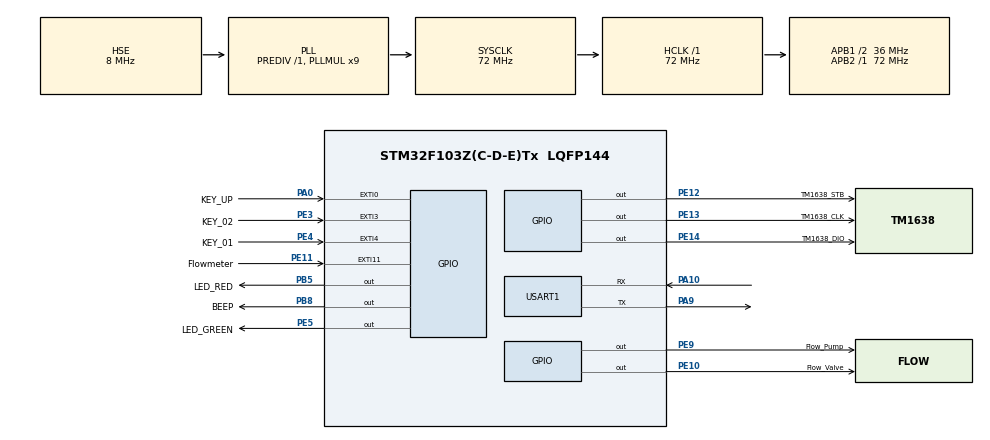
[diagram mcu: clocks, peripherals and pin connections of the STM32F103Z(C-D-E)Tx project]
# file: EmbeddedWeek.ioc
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FREERTOS.Tasks01=defaultTask,0,128,StartDefaultTask,Default,NULL,Dynamic,NULL,NULL;Blink,2,128,Start_Blink,Default,NULL,Dynamic,NULL,NULL;TM1638,0,128,Start_TM1638,Default,NULL,Dynamic,NULL,NULL
FREERTOS.configTOTAL_HEAP_SIZE=4096
Mcu.Family=STM32F1
Mcu.Name=STM32F103Z(C-D-E)Tx
Mcu.Package=LQFP144
NVIC.EXTI0_IRQn=true\:5\:0\:true\:true\:true\:1\:false\:true\:true\:true
NVIC.EXTI15_10_IRQn=true\:5\:0\:true\:true\:true\:4\:false\:true\:true\:true
NVIC.EXTI3_IRQn=true\:5\:0\:true\:true\:true\:2\:false\:true\:true\:true
NVIC.EXTI4_IRQn=true\:5\:0\:true\:true\:true\:3\:false\:true\:true\:true
NVIC.PriorityGroup=NVIC_PRIORITYGROUP_4
NVIC.TIM8_UP_IRQn=true\:15\:0\:false\:false\:true\:false\:false\:true\:true
NVIC.TimeBase=TIM8_UP_IRQn
NVIC.TimeBaseIP=TIM8
OSC_IN.Mode=HSE-External-Oscillator
OSC_IN.Signal=RCC_OSC_IN
OSC_OUT.Mode=HSE-External-Oscillator
OSC_OUT.Signal=RCC_OSC_OUT
PA0-WKUP.GPIO_Label=KEY_UP
PA0-WKUP.GPIO_ModeDefaultEXTI=GPIO_MODE_IT_RISING
PA0-WKUP.GPIO_PuPd=GPIO_PULLDOWN
PA0-WKUP.Signal=GPXTI0
PA10.Mode=Asynchronous
PA10.Signal=USART1_RX
PA13.Mode=Serial_Wire
PA13.Signal=SYS_JTMS-SWDIO
PA14.Mode=Serial_Wire
PA14.Signal=SYS_JTCK-SWCLK
PA9.Mode=Asynchronous
PA9.Signal=USART1_TX
PB5.GPIO_Label=LED_RED
PB5.GPIO_PuPd=GPIO_NOPULL
PB5.PinState=GPIO_PIN_SET
PB5.Signal=GPIO_Output
PB8.GPIO_Label=BEEP
PB8.GPIO_PuPd=GPIO_PULLDOWN
PB8.PinState=GPIO_PIN_RESET
PB8.Signal=GPIO_Output
PE10.GPIO_Label=Flow_Valve
PE10.GPIO_PuPd=GPIO_NOPULL
PE10.GPIO_Speed=GPIO_SPEED_FREQ_LOW
PE10.PinState=GPIO_PIN_RESET
PE10.Signal=GPIO_Output
PE11.GPIO_Label=Flowmeter
PE11.GPIO_ModeDefaultEXTI=GPIO_MODE_IT_RISING
PE11.GPIO_PuPd=GPIO_PULLUP
PE11.Signal=GPXTI11
PE12.GPIO_Label=TM1638_STB
PE12.GPIO_PuPd=GPIO_PULLUP
PE12.PinState=GPIO_PIN_SET
PE12.Signal=GPIO_Output
PE13.GPIO_Label=TM1638_CLK
PE13.GPIO_PuPd=GPIO_PULLUP
PE13.PinState=GPIO_PIN_SET
PE13.Signal=GPIO_Output
PE14.GPIO_Label=TM1638_DIO
PE14.GPIO_PuPd=GPIO_PULLUP
PE14.PinState=GPIO_PIN_SET
PE14.Signal=GPIO_Output
PE3.GPIO_Label=KEY_02
PE3.GPIO_ModeDefaultEXTI=GPIO_MODE_IT_FALLING
PE3.GPIO_PuPd=GPIO_PULLUP
PE3.Signal=GPXTI3
PE4.GPIO_Label=KEY_01
PE4.GPIO_ModeDefaultEXTI=GPIO_MODE_IT_FALLING
PE4.GPIO_PuPd=GPIO_PULLUP
PE4.Signal=GPXTI4
PE5.GPIO_Label=LED_GREEN
PE5.PinState=GPIO_PIN_SET
PE5.Signal=GPIO_Output
PE9.GPIO_Label=Flow_Pump
PE9.GPIO_ModeDefaultOutputPP=GPIO_MODE_OUTPUT_PP
PE9.GPIO_PuPd=GPIO_NOPULL
PE9.GPIO_Speed=GPIO_SPEED_FREQ_LOW
PE9.PinState=GPIO_PIN_RESET
PE9.Signal=GPIO_Output
ProjectManager.HeapSize=0x200
ProjectManager.StackSize=0x400
ProjectManager.TargetToolchain=MDK-ARM V5.32
RCC.AHBFreq_Value=72000000
RCC.APB1CLKDivider=RCC_HCLK_DIV2
RCC.APB1Freq_Value=36000000
RCC.APB1TimFreq_Value=72000000
RCC.APB2Freq_Value=72000000
RCC.APB2TimFreq_Value=72000000
RCC.HCLKFreq_Value=72000000
RCC.PLLMUL=RCC_PLL_MUL9
RCC.PLLSourceVirtual=RCC_PLLSOURCE_HSE
RCC.SYSCLKFreq_VALUE=72000000
RCC.SYSCLKSource=RCC_SYSCLKSOURCE_PLLCLK
RCC.USBFreq_Value=72000000
TIM7.Prescaler=71
USART1.VirtualMode=VM_ASYNC
VP_FREERTOS_VS_CMSIS_V1.Mode=CMSIS_V1
VP_SYS_VS_tim8.Mode=TIM8
VP_TIM7_VS_ClockSourceINT.Mode=Enable_Timer
board=custom

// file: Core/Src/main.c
/* USER CODE BEGIN Header */
/**
  ******************************************************************************
  * @file           : main.c
  * @brief          : Main program body
  ******************************************************************************
  * @attention
  *
  * Copyright (c) 2022 STMicroelectronics.
  * All rights reserved.
  *
  * This software is licensed under terms that can be found in the LICENSE file
  * in the root directory of this software component.
  * If no LICENSE file comes with this software, it is provided AS-IS.
  *
  ******************************************************************************
  */
/* USER CODE END Header */
#include "main.h"
#include "cmsis_os.h"
#include "tim.h"
#include "usart.h"
#include "gpio.h"

void SystemClock_Config(void);
void MX_FREERTOS_Init(void);
static void MX_NVIC_Init(void);

int main(void)
{

  /* MCU Configuration--------------------------------------------------------*/

  /* Reset of all peripherals, Initializes the Flash interface and the Systick. */
  HAL_Init();

  /* Configure the system clock */
  SystemClock_Config();

  /* Initialize all configured peripherals */
  MX_GPIO_Init();
  MX_USART1_UART_Init();
  MX_TIM7_Init();

  /* Initialize interrupts */
  MX_NVIC_Init();

  /* Call init function for freertos objects (in freertos.c) */
  MX_FREERTOS_Init();

  /* Start scheduler */
  osKernelStart();

  /* We should never get here as control is now taken by the scheduler */
  /* Infinite loop */
  while (1)
  {

  }
}

void SystemClock_Config(void)
{
  RCC_OscInitTypeDef RCC_OscInitStruct = {0};
  RCC_ClkInitTypeDef RCC_ClkInitStruct = {0};

  /** Initializes the RCC Oscillators according to the specified parameters
  * in the RCC_OscInitTypeDef structure.
  */
  RCC_OscInitStruct.OscillatorType = RCC_OSCILLATORTYPE_HSE;
  RCC_OscInitStruct.HSEState = RCC_HSE_ON;
  RCC_OscInitStruct.HSEPredivValue = RCC_HSE_PREDIV_DIV1;
  RCC_OscInitStruct.HSIState = RCC_HSI_ON;
  RCC_OscInitStruct.PLL.PLLState = RCC_PLL_ON;
  RCC_OscInitStruct.PLL.PLLSource = RCC_PLLSOURCE_HSE;
  RCC_OscInitStruct.PLL.PLLMUL = RCC_PLL_MUL9;
  if (HAL_RCC_OscConfig(&RCC_OscInitStruct) != HAL_OK)
  {
    Error_Handler();
  }

  /** Initializes the CPU, AHB and APB buses clocks
  */
  RCC_ClkInitStruct.ClockType = RCC_CLOCKTYPE_HCLK|RCC_CLOCKTYPE_SYSCLK
                              |RCC_CLOCKTYPE_PCLK1|RCC_CLOCKTYPE_PCLK2;
  RCC_ClkInitStruct.SYSCLKSource = RCC_SYSCLKSOURCE_PLLCLK;
  RCC_ClkInitStruct.AHBCLKDivider = RCC_SYSCLK_DIV1;
  RCC_ClkInitStruct.APB1CLKDivider = RCC_HCLK_DIV2;
  RCC_ClkInitStruct.APB2CLKDivider = RCC_HCLK_DIV1;

  if (HAL_RCC_ClockConfig(&RCC_ClkInitStruct, FLASH_LATENCY_2) != HAL_OK)
  {
    Error_Handler();
  }
}

/**
  * @brief NVIC Configuration.
  * @retval None
  */
static void MX_NVIC_Init(void)
{
  /* EXTI0_IRQn interrupt configuration */
  HAL_NVIC_SetPriority(EXTI0_IRQn, 5, 0);
  HAL_NVIC_EnableIRQ(EXTI0_IRQn);
  /* EXTI3_IRQn interrupt configuration */
  HAL_NVIC_SetPriority(EXTI3_IRQn, 5, 0);
  HAL_NVIC_EnableIRQ(EXTI3_IRQn);
  /* EXTI4_IRQn interrupt configuration */
  HAL_NVIC_SetPriority(EXTI4_IRQn, 5, 0);
  HAL_NVIC_EnableIRQ(EXTI4_IRQn);
  /* EXTI15_10_IRQn interrupt configuration */
  HAL_NVIC_SetPriority(EXTI15_10_IRQn, 5, 0);
  HAL_NVIC_EnableIRQ(EXTI15_10_IRQn);
}

void HAL_TIM_PeriodElapsedCallback(TIM_HandleTypeDef *htim)
{
  if (htim->Instance == TIM8) {
    HAL_IncTick();
  }
}

void Error_Handler(void)
{
  __disable_irq();
  while (1)
  {
  }
}

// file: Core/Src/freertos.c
/* USER CODE BEGIN Header */
/**
  ******************************************************************************
  * File Name          : freertos.c
  * Description        : Code for freertos applications
  ******************************************************************************
  * @attention
  *
  * Copyright (c) 2022 STMicroelectronics.
  * All rights reserved.
  *
  * This software is licensed under terms that can be found in the LICENSE file
  * in the root directory of this software component.
  * If no LICENSE file comes with this software, it is provided AS-IS.
  *
  ******************************************************************************
  */
/* USER CODE END Header */

#include "FreeRTOS.h"
#include "task.h"
#include "main.h"
#include "cmsis_os.h"

osThreadId defaultTaskHandle;
osThreadId BlinkHandle;
osThreadId TM1638Handle;

void StartDefaultTask(void const * argument);
void Start_Blink(void const * argument);
void Start_TM1638(void const * argument);

void MX_FREERTOS_Init(void); /* (MISRA C 2004 rule 8.1) */

/* GetIdleTaskMemory prototype (linked to static allocation support) */
void vApplicationGetIdleTaskMemory( StaticTask_t **ppxIdleTaskTCBBuffer, StackType_t **ppxIdleTaskStackBuffer, uint32_t *pulIdleTaskStackSize );

/* USER CODE BEGIN GET_IDLE_TASK_MEMORY */
static StaticTask_t xIdleTaskTCBBuffer;
static StackType_t xIdleStack[configMINIMAL_STACK_SIZE];

void vApplicationGetIdleTaskMemory( StaticTask_t **ppxIdleTaskTCBBuffer, StackType_t **ppxIdleTaskStackBuffer, uint32_t *pulIdleTaskStackSize )
{
  *ppxIdleTaskTCBBuffer = &xIdleTaskTCBBuffer;
  *ppxIdleTaskStackBuffer = &xIdleStack[0];
  *pulIdleTaskStackSize = configMINIMAL_STACK_SIZE;
  /* place for user code */
}
/* USER CODE END GET_IDLE_TASK_MEMORY */

void MX_FREERTOS_Init(void) {

  /* Create the thread(s) */
  /* definition and creation of defaultTask */
  osThreadDef(defaultTask, StartDefaultTask, osPriorityNormal, 0, 128);
  defaultTaskHandle = osThreadCreate(osThread(defaultTask), NULL);

  /* definition and creation of Blink */
  osThreadDef(Blink, Start_Blink, osPriorityHigh, 0, 128);
  BlinkHandle = osThreadCreate(osThread(Blink), NULL);

  /* definition and creation of TM1638 */
  osThreadDef(TM1638, Start_TM1638, osPriorityNormal, 0, 128);
  TM1638Handle = osThreadCreate(osThread(TM1638), NULL);

}

void StartDefaultTask(void const * argument)
{
  /* USER CODE BEGIN StartDefaultTask */
  F103_BEEP(ON);
  osDelay(200);
  F103_BEEP(OFF);
  /* Infinite loop */
  for(;;)
  {
    TM1638_LED(0x80);
    osDelay(200);
    TM1638_LED(0x40);
    osDelay(200);
    TM1638_LED(0x20);
    osDelay(200);
    TM1638_LED(0x10);
    osDelay(200);
    TM1638_LED(0x08);
    osDelay(200);
    TM1638_LED(0x04);
    osDelay(200);
    TM1638_LED(0x02);
    osDelay(200);
    TM1638_LED(0x01);
    osDelay(200);
  }
  /* USER CODE END StartDefaultTask */
}

void Start_Blink(void const * argument)
{
  /* USER CODE BEGIN Start_Blink */
  osDelay(1000);
  /* Infinite loop */
  for(;;)
  {
    F103_LED(LED_COLOR_GREEN, ON);
    osDelay(150);
    F103_LED(LED_COLOR_GREEN, OFF);
    osDelay(850);
  }
  /* USER CODE END Start_Blink */
}

void Start_TM1638(void const * argument)
{
  /* USER CODE BEGIN Start_TM1638 */
  osDelay(500);
  TM1638_Init();
  /* Infinite loop */
  for(;;)
  {
    Flow_UI_Display();
    osDelay(200);
  }
  /* USER CODE END Start_TM1638 */
}
